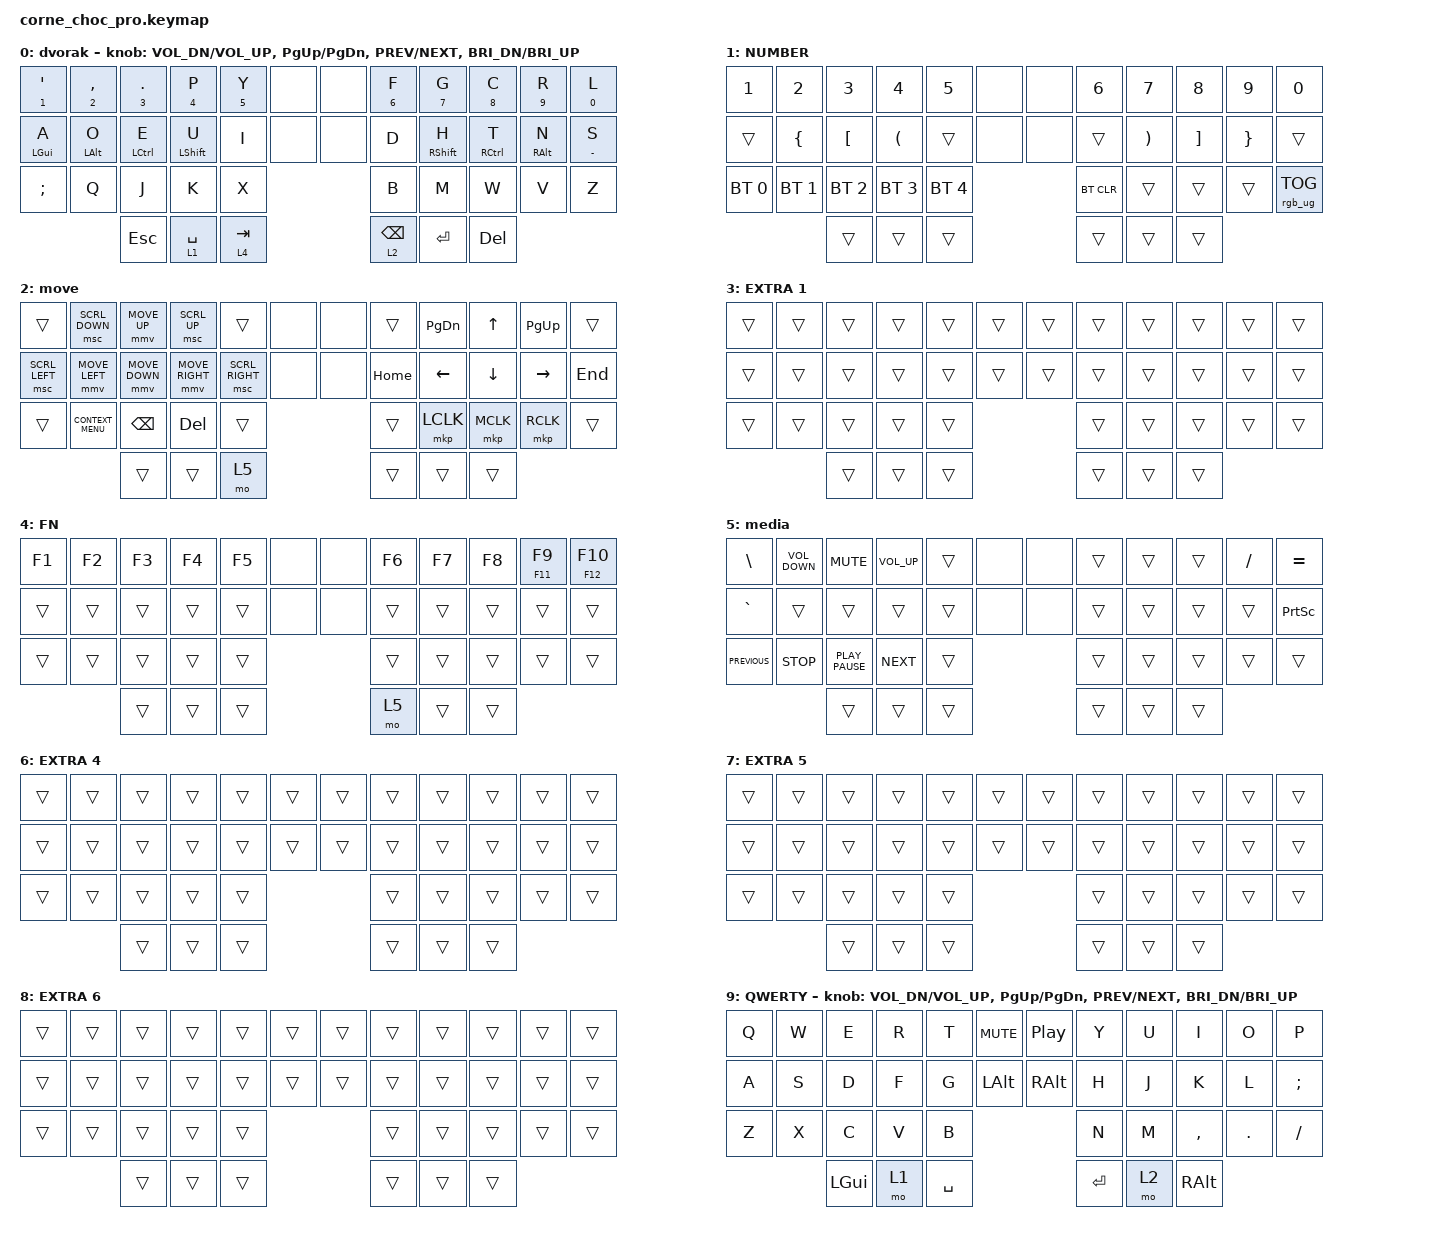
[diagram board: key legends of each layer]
/*
 * Copyright (c) 2020 The ZMK Contributors
 *
 * SPDX-License-Identifier: MIT
 */

#include <dt-bindings/zmk/behaviors.h>
#include <behaviors.dtsi>
#include <dt-bindings/zmk/bt.h>
#include <dt-bindings/zmk/keys.h>
#include <dt-bindings/zmk/pointing.h>
#include <dt-bindings/zmk/rgb.h>

/ {
    behaviors {
        mt: mod_tap {
            compatible = "zmk,behavior-hold-tap";
            #binding-cells = <2>;
            // flavor = "balanced";
            flavor = "tap-preferred";
            tapping-term-ms = <200>;
            bindings = <&kp>, <&kp>;
            display-name = "Mod-Tap";
        };
    };
};

/* / { */
/*     behaviors { */
/*         hml: home_row_mod_left { */
/*             compatible = "zmk,behavior-hold-tap"; */
/*             #binding-cells = <2>; */
/*             flavor = "balanced"; */
/*             require-prior-idle-ms = <150>; */
/*             tapping-term-ms = <280>; */
/*             quick-tap-ms = <175>; */
/*             bindings = <&kp>, <&kp>; */
/*             hold-trigger-key-positions = < ... >; // List of keys on the right side of the keyboard */
/*             hold-trigger-on-release; */
/*         }; */
/*         hmr: home_row_mod_right { */
/*             compatible = "zmk,behavior-hold-tap"; */
/*             #binding-cells = <2>; */
/*             flavor = "balanced"; */
/*             require-prior-idle-ms = <150>; */
/*             tapping-term-ms = <280>; */
/*             quick-tap-ms = <175>; */
/*             bindings = <&kp>, <&kp>; */
/*             hold-trigger-key-positions = < ... >; // List of keys on the left side of the keyboard */
/*             hold-trigger-on-release; */
/*         }; */
/*     }; */
/* }; */

/ {
    chosen { zmk,physical-layout = &five_col_layout; };
};

/ {
    keymap {
        compatible = "zmk,keymap";

        default_layer {
            display-name = "dvorak";

            // ------------------------------------------------------------------------------
            // |  Q  |  W  |  E  |  R  |  T  |  MUTE |  PP   |  Y  |  U   |  I  |  O  |  P  |
            // |  A  |  S  |  D  |  F  |  G  |  LALT |  RALT |  H  |  J   |  K  |  L  |  ;  |
            // |  Z  |  X  |  C  |  V  |  B  |               |  N  |  M   |  ,  |  .  |  /  |
            //                    | GUI | LWR | SPC |               | ENT | RSE  | ALT |

            bindings = <
  &mt NUMBER_1 SINGLE_QUOTE  &mt NUMBER_2 COMMA  &mt NUMBER_3 PERIOD  &mt NUMBER_4 P    &mt N5 Y   &none  &none  &mt NUMBER_6 F   &mt N7 G           &mt N8 C     &mt N9 R         &mt N0 L
  &mt LEFT_GUI A             &mt LEFT_ALT O      &mt LCTRL E          &mt LEFT_SHIFT U  &kp I      &none  &none  &kp D            &mt RIGHT_SHIFT H  &mt RCTRL T  &mt RIGHT_ALT N  &mt MINUS S
  &kp SEMICOLON              &kp Q               &kp J                &kp K             &kp X                    &kp B            &kp M              &kp W        &kp V            &kp Z
                                                 &kp ESCAPE           &lt 1 SPACE       &lt 4 TAB                &lt 2 BACKSPACE  &kp ENTER          &kp DEL
            >;

            sensor-bindings = <&inc_dec_kp C_VOL_DN C_VOL_UP &inc_dec_kp PG_UP PG_DN &inc_dec_kp C_PREV C_NEXT &inc_dec_kp C_BRI_DN C_BRI_UP>;
        };

        lower_layer {
            display-name = "NUMBER";

            // --------------------------------------------------------------------------------
            // |  1  |  2  |  3  |  4  |  5    |  LCTRL | RCTRL |  6  |  7  |  8  |  9  |  0  |
            // | BT1 | BT2 | BT3 | BT4 | BT5   |  LALT  | RALT  | LFT | DWN |  UP | RGT |     |
            // | BTCR| RGB | RST | BOOT| Unlock|        |       |     |     |     |     |     |
            //                    | GUI |     | SPC   |        | ENT   |     | ALT |

            bindings = <
  &kp N1        &kp N2          &kp N3            &kp N4                &kp N5        &none  &none  &kp N6      &kp N7                 &kp N8             &kp N9           &kp N0
  &trans        &kp LEFT_BRACE  &kp LEFT_BRACKET  &kp LEFT_PARENTHESIS  &trans        &none  &none  &trans      &kp RIGHT_PARENTHESIS  &kp RIGHT_BRACKET  &kp RIGHT_BRACE  &trans
  &bt BT_SEL 0  &bt BT_SEL 1    &bt BT_SEL 2      &bt BT_SEL 3          &bt BT_SEL 4                &bt BT_CLR  &trans                 &trans             &trans           &rgb_ug RGB_TOG
                                &trans            &trans                &trans                      &trans      &trans                 &trans
            >;
        };

        movements {
            display-name = "move";

            // -----------------------------------------------------------------------------
            // |  !  |  @  |  #  |  $  |  %  | LCTRL | RCTRL |  ^  |  &  |  *  |  (  |  )  |
            // |     |     |     |     |     |  LALT | RALT  |  -  |  =  |  [  |  ]  |  \  |
            // |     |     |     |     |     |               |  _  |  +  |  {  |  }  | "|" |
            //                    | GUI |     | SPC |               | ENT |     | ALT |

            bindings = <
  &trans          &msc SCRL_DOWN      &mmv MOVE_UP    &msc SCRL_UP     &trans           &none  &none  &trans    &kp PAGE_DOWN   &kp UP_ARROW    &kp PAGE_UP  &trans
  &msc SCRL_LEFT  &mmv MOVE_LEFT      &mmv MOVE_DOWN  &mmv MOVE_RIGHT  &msc SCRL_RIGHT  &none  &none  &kp HOME  &kp LEFT_ARROW  &kp DOWN_ARROW  &kp RIGHT    &kp END
  &trans          &kp K_CONTEXT_MENU  &kp BACKSPACE   &kp DELETE       &trans                         &trans    &mkp LCLK       &mkp MCLK       &mkp RCLK    &trans
                                      &trans          &trans           &mo 5                          &trans    &trans          &trans
            >;
        };

        extra_layer_1 {
            display-name = "EXTRA 1";
            bindings = <
  &trans  &trans  &trans  &trans  &trans  &trans  &trans  &trans  &trans  &trans  &trans  &trans
  &trans  &trans  &trans  &trans  &trans  &trans  &trans  &trans  &trans  &trans  &trans  &trans
  &trans  &trans  &trans  &trans  &trans                  &trans  &trans  &trans  &trans  &trans
                  &trans  &trans  &trans                  &trans  &trans  &trans
            >;
        };

        FN {
            display-name = "FN";
            bindings = <
  &kp F1  &kp F2  &kp F3  &kp F4  &kp F5  &none  &none  &kp F6  &kp F7  &kp F8  &mt F11 F9  &mt F12 F10
  &trans  &trans  &trans  &trans  &trans  &none  &none  &trans  &trans  &trans  &trans      &trans
  &trans  &trans  &trans  &trans  &trans                &trans  &trans  &trans  &trans      &trans
                  &trans  &trans  &trans                &mo 5   &trans  &trans
            >;
        };

        media {
            display-name = "media";
            bindings = <
  &kp BACKSLASH   &kp C_VOLUME_DOWN  &kp K_MUTE        &kp C_VOLUME_UP  &trans  &none  &none  &trans  &trans  &trans  &kp SLASH  &kp EQUAL
  &kp GRAVE       &trans             &trans            &trans           &trans  &none  &none  &trans  &trans  &trans  &trans     &kp PRINTSCREEN
  &kp K_PREVIOUS  &kp K_STOP         &kp K_PLAY_PAUSE  &kp C_NEXT       &trans                &trans  &trans  &trans  &trans     &trans
                                     &trans            &trans           &trans                &trans  &trans  &trans
            >;
        };

        extra_layer_4 {
            display-name = "EXTRA 4";
            bindings = <
  &trans  &trans  &trans  &trans  &trans  &trans  &trans  &trans  &trans  &trans  &trans  &trans
  &trans  &trans  &trans  &trans  &trans  &trans  &trans  &trans  &trans  &trans  &trans  &trans
  &trans  &trans  &trans  &trans  &trans                  &trans  &trans  &trans  &trans  &trans
                  &trans  &trans  &trans                  &trans  &trans  &trans
            >;
        };

        extra_layer_5 {
            display-name = "EXTRA 5";
            bindings = <
  &trans  &trans  &trans  &trans  &trans  &trans  &trans  &trans  &trans  &trans  &trans  &trans
  &trans  &trans  &trans  &trans  &trans  &trans  &trans  &trans  &trans  &trans  &trans  &trans
  &trans  &trans  &trans  &trans  &trans                  &trans  &trans  &trans  &trans  &trans
                  &trans  &trans  &trans                  &trans  &trans  &trans
            >;
        };

        extra_layer_6 {
            display-name = "EXTRA 6";
            bindings = <
  &trans  &trans  &trans  &trans  &trans  &trans  &trans  &trans  &trans  &trans  &trans  &trans
  &trans  &trans  &trans  &trans  &trans  &trans  &trans  &trans  &trans  &trans  &trans  &trans
  &trans  &trans  &trans  &trans  &trans                  &trans  &trans  &trans  &trans  &trans
                  &trans  &trans  &trans                  &trans  &trans  &trans
            >;
        };

        layer_9 {
            display-name = "QWERTY";
            bindings = <
  &kp Q  &kp W  &kp E     &kp R  &kp T      &kp C_MUTE  &kp C_PP  &kp Y    &kp U  &kp I      &kp O    &kp P
  &kp A  &kp S  &kp D     &kp F  &kp G      &kp LALT    &kp RALT  &kp H    &kp J  &kp K      &kp L    &kp SEMI
  &kp Z  &kp X  &kp C     &kp V  &kp B                            &kp N    &kp M  &kp COMMA  &kp DOT  &kp FSLH
                &kp LGUI  &mo 1  &kp SPACE                        &kp RET  &mo 2  &kp RALT
            >;

            sensor-bindings =
                <&inc_dec_kp C_VOL_DN C_VOL_UP>,
                <&inc_dec_kp PG_UP PG_DN>,
                <&inc_dec_kp C_PREV C_NEXT>,
                <&inc_dec_kp C_BRI_DN C_BRI_UP>;
        };
    };
};
